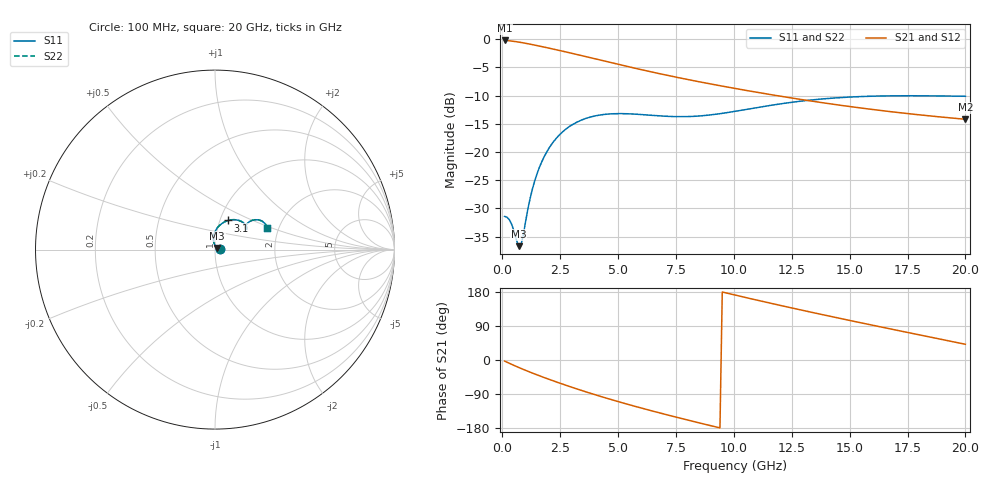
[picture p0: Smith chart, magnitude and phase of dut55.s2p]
! Touchstone file exported from HFSS 2023.1.0
!  File:  D:/Users/fzz/RDL_TSV/temp_RDL_TSV_55_1778745775.aedt
!  Generated:  4:11:52 %x4E0B%x5348  5%x6708 14, 2026
!  Design:  RDL_TSV
!  Project:  temp_RDL_TSV_55_1778745775
!  Setup:  Setup1
!  Solution:  Sweep
! Variables:
!  dtsv = 20.46um
!  hbump = 3um
!  htsv = 57.64um
!  ldown = 662.58um
!  lrdl = 693.6um
!  p = 40
!  p1 = 54.29um
!  rhole = 10um
!  subl = 4762.14um
!  t = 450um
!  tdown = 4.02um
!  trdl = 2.24um
!  viad = 10um
!  wdown = 15.28um
!  wrdl = 27.35um
!  xbump = 18um
# GHz S MA R 50.000000
! Terminal data exported
! Port[1] = TM1_1_T1
! Port[2] = TM1_4_T1
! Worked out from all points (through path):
!   200 points, 100 MHz to 20 GHz, reference 50 ohm
!   highest |S21| = -0.25 dB at 100 MHz (marker M1); lowest = -14.2 dB at 20 GHz (marker M2)
!   group delay of S21, straight-line fit = 42 ps
!   lowest |S11| = -36.7 dB at 700 MHz (marker M3), VSWR 1.03, Z = 51.2 + j0.875 ohm
!   |S11| at or under -10 dB: start of sweep to end of sweep
!   |S22| runs from -36.7 to -10.0 dB; largest |S21 - S12| = 1.1e-14
!   S11 on the Smith chart (normalised r, x): 100 MHz: 1.06, +0.00; 3.1 GHz: 1.09, +0.37; 20 GHz: 1.73, +0.46
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0.1  0.0269 1.8  0.972 -2.9  0.972 -2.9  0.0269 1.8
! Gamma 0 0 0 0
! Port Impedance 50 0 50 0
0.3  0.02523 3.9  0.9652 -8.6  0.9652 -8.6  0.02523 3.9
0.4  0.02304 5.7  0.9602 -11.4  0.9602 -11.4  0.02304 5.7
0.7  0.01467 35.6  0.9413 -19.5  0.9413 -19.5  0.01467 35.7
0.8  0.01481 58.6  0.934 -22.1  0.934 -22.1  0.01481 58.7
0.9  0.01813 78.3  0.9263 -24.6  0.9263 -24.6  0.01814 78.4
1.1  0.03085 95.9  0.91 -29.6  0.91 -29.6  0.03088 95.9
1.3  0.04695 99.0  0.8931 -34.5  0.8931 -34.5  0.04699 99.0
1.7  0.08153 94.0  0.8585 -43.9  0.8585 -43.9  0.0816 94.1
2.3  0.1299 81.5  0.8069 -57.2  0.8069 -57.2  0.13 81.5
3.1  0.1783 65.6  0.7402 -73.9  0.7402 -73.9  0.1784 65.6
3.5  0.1947 58.8  0.7079 -81.9  0.7079 -81.9  0.1949 58.8
4.3  0.2138 47.6  0.6468 -97.1  0.6468 -97.1  0.2139 47.6
5.1  0.2187 39.6  0.5912 -111.5  0.5912 -111.5  0.2189 39.6
5.9  0.2154 34.8  0.5418 -125.1  0.5418 -125.1  0.2155 34.8
6.8  0.2088 32.7  0.4933 -139.7  0.4933 -139.7  0.209 32.8
8.3  0.2071 35.1  0.4266 -162.9  0.4266 -162.9  0.2073 35.1
10.1  0.23 38.8  0.3639 170.7  0.3639 170.7  0.2305 38.9
11.7  0.261 38.3  0.3195 148.3  0.3195 148.3  0.2617 38.4
13.4  0.2895 34.9  0.2815 125.3  0.2815 125.3  0.2906 34.9
16.7  0.3142 26.9  0.2285 82.8  0.2285 82.8  0.3156 26.8
20  0.3116 22.6  0.1949 41.5  0.1949 41.5  0.313 22.3
